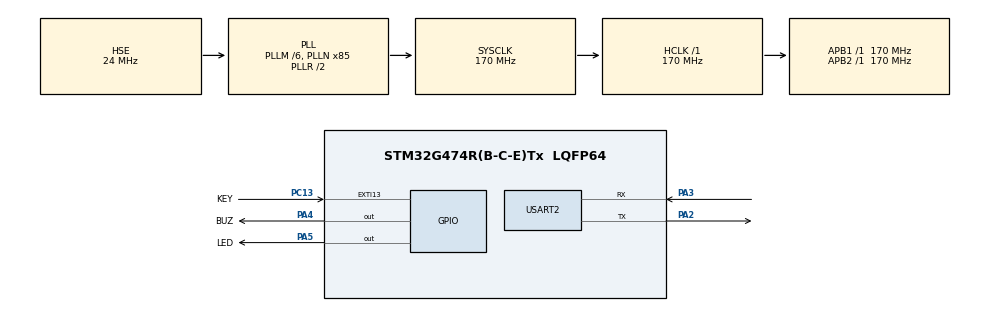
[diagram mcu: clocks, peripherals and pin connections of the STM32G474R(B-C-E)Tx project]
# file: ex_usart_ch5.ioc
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Mcu.Family=STM32G4
RCC.PLLSourceVirtual=RCC_PLLSOURCE_HSE
PA2.GPIO_PuPd=GPIO_PULLUP
RCC.CortexFreq_Value=170000000
PC13.Signal=GPXTI13
PA3.GPIO_PuPd=GPIO_PULLUP
PA2.GPIO_Speed=GPIO_SPEED_FREQ_HIGH
RCC.EXTERNAL_CLOCK_VALUE=12288000
PC13.GPIO_Label=KEY
PA3.GPIO_Speed=GPIO_SPEED_FREQ_HIGH
PA5.PinState=GPIO_PIN_SET
NVIC.USART2_IRQn=true\:1\:0\:true\:false\:true\:true\:true
RCC.SYSCLKSource=RCC_SYSCLKSOURCE_PLLCLK
ProjectManager.StackSize=0x400
PA13.Signal=SYS_JTMS-SWDIO
PA3.Mode=Asynchronous
PA4.PinState=GPIO_PIN_SET
ProjectManager.TargetToolchain=STM32CubeIDE
RCC.HCLKFreq_Value=170000000
RCC.APB2TimFreq_Value=170000000
RCC.USBFreq_Value=170000000
RCC.LSE_VALUE=32768
RCC.AHBFreq_Value=170000000
PF0-OSC_IN.Mode=HSE-External-Oscillator
NVIC.EXTI15_10_IRQn=true\:4\:0\:true\:false\:true\:true\:true
PA5.Signal=GPIO_Output
RCC.HSE_VALUE=24000000
PA4.GPIO_PuPd=GPIO_PULLUP
board=custom
USART2.VirtualMode-Asynchronous=VM_ASYNC
RCC.VCOOutputFreq_Value=340000000
RCC.ADC12Freq_Value=170000000
PA4.GPIO_Speed=GPIO_SPEED_FREQ_HIGH
RCC.ADC345Freq_Value=170000000
RCC.APB2Freq_Value=170000000
PA5.GPIO_ModeDefaultOutputPP=GPIO_MODE_OUTPUT_PP
PA14.Mode=Serial_Wire
PA5.GPIO_PuPd=GPIO_PULLUP
PC13.GPIO_PuPd=GPIO_PULLDOWN
VP_SYS_VS_DBSignals.Mode=DisableDeadBatterySignals
PA13.Mode=Serial_Wire
Mcu.Name=STM32G474R(B-C-E)Tx
PA2.Signal=USART2_TX
PA4.Signal=GPIO_Output
RCC.SYSCLKFreq_VALUE=170000000
Mcu.Package=LQFP64
PA5.GPIO_Label=LED
PA14.Signal=SYS_JTCK-SWCLK
ProjectManager.HeapSize=0x200
RCC.HSI_VALUE=16000000
PA5.GPIO_Speed=GPIO_SPEED_FREQ_HIGH
NVIC.PriorityGroup=NVIC_PRIORITYGROUP_4
RCC.PLLM=RCC_PLLM_DIV6
RCC.PLLN=85
RCC.APB1TimFreq_Value=170000000
PA2.Mode=Asynchronous
PF0-OSC_IN.Signal=RCC_OSC_IN
PF1-OSC_OUT.Mode=HSE-External-Oscillator
RCC.APB1Freq_Value=170000000
PA4.GPIO_Label=BUZ
PF1-OSC_OUT.Signal=RCC_OSC_OUT
RCC.HSI48_VALUE=48000000
PA3.Signal=USART2_RX

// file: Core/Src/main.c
/* USER CODE BEGIN Header */
/**
  ******************************************************************************
  * @file           : main.c
  * @brief          : Main program body
  ******************************************************************************
  * @attention
  *
  * <h2><center>&copy; Copyright (c) 2022 STMicroelectronics.
  * All rights reserved.</center></h2>
  *
  * This software component is licensed by ST under BSD 3-Clause license,
  * the "License"; You may not use this file except in compliance with the
  * License. You may obtain a copy of the License at:
  *                        opensource.org/licenses/BSD-3-Clause
  *
  ******************************************************************************
  */
/* USER CODE END Header */
#include "main.h"

/* USER CODE BEGIN Includes */
#include "stdio.h"
#include "stdlib.h"
/* USER CODE END Includes */

/* USER CODE BEGIN PD*/

//5.1-2: 1, 5.3.1:3, 5.1.4:4
#define RXBUFFERSIZE 3 //接收缓冲区的长度
/* USER CODE END PD */

UART_HandleTypeDef huart2;

/* USER CODE BEGIN PV */
uint8_t RxBuffer[RXBUFFERSIZE];

// 5.2
uint8_t CommOkMessage[] = "Everything is OK\r\n";
uint8_t CommErrMessage[] = "Received Error Data\r\n";
uint8_t CommFlag = 0;
uint8_t RxBuffer[RXBUFFERSIZE] = {0};
/* USER CODE END PV */

void SystemClock_Config(void);
static void MX_GPIO_Init(void);
static void MX_USART2_UART_Init(void);
void sort(uint32_t* a, uint32_t length, uint32_t* b);

int main(void)
{

  /* MCU Configuration--------------------------------------------------------*/

  /* Reset of all peripherals, Initializes the Flash interface and the Systick. */
  HAL_Init();

  /* Configure the system clock */
  SystemClock_Config();

  /* Initialize all configured peripherals */
  MX_GPIO_Init();
  MX_USART2_UART_Init();
  /* USER CODE BEGIN 2 */
  HAL_UART_Receive_IT(&huart2, (uint8_t *)RxBuffer, RXBUFFERSIZE);

  // 5.4
//  printf("Please Enter Data:\r\n");

  /* USER CODE END 2 */

  /* Infinite loop */
  while (1)
  {

    /* USER CODE BEGIN 3 */
	  // 5.1.1
//	  if (RxBuffer[0]==0x10){
//		  HAL_GPIO_WritePin(LED_GPIO_Port, LED_Pin, GPIO_PIN_SET);
//	  }
//	  else if (RxBuffer[0]==0x20){
//		  HAL_GPIO_WritePin(BUZ_GPIO_Port, BUZ_Pin, GPIO_PIN_RESET);
//	  }
//	  else{
//		  HAL_GPIO_WritePin(LED_GPIO_Port, LED_Pin, GPIO_PIN_RESET);
//		  HAL_GPIO_WritePin(BUZ_GPIO_Port, BUZ_Pin, GPIO_PIN_SET);
//	  }

	  // 5.1.2 控制LD的闪烁次数
//	  uint8_t num = (RxBuffer[0] < 20) ? RxBuffer[0] : 20;
//	  for (uint8_t i = 0; i < num * 2; ++i)
//	  {
//		  HAL_GPIO_TogglePin(LED_GPIO_Port, LED_Pin);
//		  HAL_Delay(500);
//	  }
//	  HAL_GPIO_WritePin(LED_GPIO_Port, LED_Pin, GPIO_PIN_RESET);
//	  HAL_Delay(2000);

	  // 5.2.1
//	  if ((RxBuffer[0] == 0x10)&&( CommFlag == 1)) {
//		  CommFlag = 0;
//		  HAL_GPIO_WritePin(LED_GPIO_Port, LED_Pin, GPIO_PIN_SET);
//		  HAL_UART_Transmit(&huart2,CommOkMessage,19,1000);
//	  }
//	  else if ((RxBuffer[0] != 0x10)&&( CommFlag == 1)) {
//		  CommFlag = 0;
//		  HAL_GPIO_WritePin(LED_GPIO_Port, LED_Pin, GPIO_PIN_RESET);
//		  HAL_UART_Transmit(&huart2,CommErrMessage,22,1000);
//	  }
	  // 5.2.2
//	  uint8_t num = 0;
//	  uint8_t i = 0;
//	  if (RxBuffer[0] < 10 && CommFlag == 1){
//		  CommFlag = 0;
//		  num = RxBuffer[0];
//		  i = 0;
//		  for (i = 1; i <= num; ++i)
//		  {
//			  uint8_t flash_msg[16];
//			  sprintf((char *)flash_msg, "flash %d times\r\n", i);
//			  HAL_UART_Transmit(&huart2, flash_msg, 16, 1000);
//			  HAL_Delay(20);
//			  HAL_GPIO_WritePin(LED_GPIO_Port, LED_Pin, GPIO_PIN_RESET);
//			  HAL_Delay(500);
//			  HAL_GPIO_WritePin(LED_GPIO_Port, LED_Pin, GPIO_PIN_SET);
//			  HAL_Delay(500);
//		  }
//		  uint8_t flash_end_msg[] = "flash over\r\n";
//		  HAL_UART_Transmit(&huart2, flash_end_msg, 13, 1000);
//		  HAL_Delay(2000);
//	  }

	  // 5.3.1
//	  if ((RxBuffer[0] == 0x53)&&(RxBuffer[2] == 0x45)&&(CommFlag == 1))
//	  {
//		  CommFlag = 0;
//		  if (RxBuffer[1] == 0x10)
//		  {
//			  HAL_GPIO_WritePin(LED_GPIO_Port, LED_Pin, GPIO_PIN_SET);
//			  HAL_UART_Transmit_IT(&huart2, CommOkMessage, 19);
//		  }
//		  else
//		  {
//			  HAL_GPIO_WritePin(LED_GPIO_Port, LED_Pin, GPIO_PIN_RESET);
//			  HAL_UART_Transmit_IT(&huart2, CommErrMessage, 22);
//		  }
//	  }

	  // 5.3.2
//	  uint16_t f_delay;
//	  uint8_t f_times;
//	  uint8_t i;
//	  if ((RxBuffer[0] == 0x53)&&(RxBuffer[3] == 0x45)&&(CommFlag == 1))
//	  {
//		  f_delay = (uint16_t)RxBuffer[1] * 10;
//		  f_times = RxBuffer[2];
//		  CommFlag = 0;
//
//		  i = 0;
//		  for (i = 1; i <= f_times; ++i)
//		  {
//		  			  uint8_t flash_msg[16];
//		  			  sprintf((char *)flash_msg, "flash %d times\r\n", i);
//		  			  HAL_UART_Transmit(&huart2, flash_msg, 16, 1000);
//		  			  HAL_Delay(20);
//		  			  HAL_GPIO_WritePin(LED_GPIO_Port, LED_Pin, GPIO_PIN_RESET);
//		  			  HAL_Delay(f_delay);
//		  			  HAL_GPIO_WritePin(LED_GPIO_Port, LED_Pin, GPIO_PIN_SET);
//		  			  HAL_Delay(f_delay);
//		  }
//		  		  uint8_t flash_end_msg[] = "flash over\r\n";
//		  		  HAL_UART_Transmit(&huart2, flash_end_msg, 13, 1000);
//		  		  HAL_Delay(2000);
//	  	}

	  // 5.5
	  printf("calculate the ranks of 20 students's scores, start:\r\n");

	  uint32_t scores[20];
	  uint32_t scores_copy[20];
	  uint32_t sort_idx[20];
	  for (uint8_t i = 0;i < 20; ++i){
		  sort_idx[i] = i;
	  }
	  for (uint8_t i = 0;i < 20; ++i){
		  printf("please enter %d th students's score:\r\n", i);
		  while(1){
		   if (CommFlag == 1){

			  uint32_t score = 0;
			  CommFlag = 0;
			  score = (RxBuffer[0]-48)*100 + (RxBuffer[1]-48)*10 + RxBuffer[2]-48;
			  if (score <= 100){
				  scores[i] = score;
			  	  printf("receive score: %d of %d th student\r\n", score, i);
			  	  break;
			  }
			  else{
				  printf("invalud score, please enter again\r\n");
			  }
		   }
		  }
	  }
	  HAL_Delay(200);
	  printf("all scores:\r\n");
	  for (uint8_t i = 0;i < 20; ++i){
		  printf("%d: %d\r\n", i, scores[i]);
	  }

	  for(uint8_t i =0; i < 20; ++i){
		  scores_copy[i] = scores[i];
	  }
	  sort(scores_copy, 20, sort_idx);

	  printf("after sorted:\r\n");
	  for (uint8_t i = 0;i < 20; ++i){
		  printf("%d: stu %d of score %d\r\n",i, sort_idx[i], scores[sort_idx[i]]);
	  }

  }
  /* USER CODE END 3 */
}

void SystemClock_Config(void)
{
  RCC_OscInitTypeDef RCC_OscInitStruct = {0};
  RCC_ClkInitTypeDef RCC_ClkInitStruct = {0};
  RCC_PeriphCLKInitTypeDef PeriphClkInit = {0};

  /** Configure the main internal regulator output voltage
  */
  HAL_PWREx_ControlVoltageScaling(PWR_REGULATOR_VOLTAGE_SCALE1_BOOST);
  /** Initializes the RCC Oscillators according to the specified parameters
  * in the RCC_OscInitTypeDef structure.
  */
  RCC_OscInitStruct.OscillatorType = RCC_OSCILLATORTYPE_HSE;
  RCC_OscInitStruct.HSEState = RCC_HSE_ON;
  RCC_OscInitStruct.PLL.PLLState = RCC_PLL_ON;
  RCC_OscInitStruct.PLL.PLLSource = RCC_PLLSOURCE_HSE;
  RCC_OscInitStruct.PLL.PLLM = RCC_PLLM_DIV6;
  RCC_OscInitStruct.PLL.PLLN = 85;
  RCC_OscInitStruct.PLL.PLLP = RCC_PLLP_DIV2;
  RCC_OscInitStruct.PLL.PLLQ = RCC_PLLQ_DIV2;
  RCC_OscInitStruct.PLL.PLLR = RCC_PLLR_DIV2;
  if (HAL_RCC_OscConfig(&RCC_OscInitStruct) != HAL_OK)
  {
    Error_Handler();
  }
  /** Initializes the CPU, AHB and APB buses clocks
  */
  RCC_ClkInitStruct.ClockType = RCC_CLOCKTYPE_HCLK|RCC_CLOCKTYPE_SYSCLK
                              |RCC_CLOCKTYPE_PCLK1|RCC_CLOCKTYPE_PCLK2;
  RCC_ClkInitStruct.SYSCLKSource = RCC_SYSCLKSOURCE_PLLCLK;
  RCC_ClkInitStruct.AHBCLKDivider = RCC_SYSCLK_DIV1;
  RCC_ClkInitStruct.APB1CLKDivider = RCC_HCLK_DIV1;
  RCC_ClkInitStruct.APB2CLKDivider = RCC_HCLK_DIV1;

  if (HAL_RCC_ClockConfig(&RCC_ClkInitStruct, FLASH_LATENCY_4) != HAL_OK)
  {
    Error_Handler();
  }
  /** Initializes the peripherals clocks
  */
  PeriphClkInit.PeriphClockSelection = RCC_PERIPHCLK_USART2;
  PeriphClkInit.Usart2ClockSelection = RCC_USART2CLKSOURCE_PCLK1;
  if (HAL_RCCEx_PeriphCLKConfig(&PeriphClkInit) != HAL_OK)
  {
    Error_Handler();
  }
}

static void MX_USART2_UART_Init(void)
{

  huart2.Instance = USART2;
  huart2.Init.BaudRate = 115200;
  huart2.Init.WordLength = UART_WORDLENGTH_8B;
  huart2.Init.StopBits = UART_STOPBITS_1;
  huart2.Init.Parity = UART_PARITY_NONE;
  huart2.Init.Mode = UART_MODE_TX_RX;
  huart2.Init.HwFlowCtl = UART_HWCONTROL_NONE;
  huart2.Init.OverSampling = UART_OVERSAMPLING_16;
  huart2.Init.OneBitSampling = UART_ONE_BIT_SAMPLE_DISABLE;
  huart2.Init.ClockPrescaler = UART_PRESCALER_DIV1;
  huart2.AdvancedInit.AdvFeatureInit = UART_ADVFEATURE_NO_INIT;
  if (HAL_UART_Init(&huart2) != HAL_OK)
  {
    Error_Handler();
  }
  if (HAL_UARTEx_SetTxFifoThreshold(&huart2, UART_TXFIFO_THRESHOLD_1_8) != HAL_OK)
  {
    Error_Handler();
  }
  if (HAL_UARTEx_SetRxFifoThreshold(&huart2, UART_RXFIFO_THRESHOLD_1_8) != HAL_OK)
  {
    Error_Handler();
  }
  if (HAL_UARTEx_DisableFifoMode(&huart2) != HAL_OK)
  {
    Error_Handler();
  }

}

static void MX_GPIO_Init(void)
{
  GPIO_InitTypeDef GPIO_InitStruct = {0};

  /* GPIO Ports Clock Enable */
  __HAL_RCC_GPIOC_CLK_ENABLE();
  __HAL_RCC_GPIOF_CLK_ENABLE();
  __HAL_RCC_GPIOA_CLK_ENABLE();

  /*Configure GPIO pin Output Level */
  HAL_GPIO_WritePin(GPIOA, BUZ_Pin|LED_Pin, GPIO_PIN_SET);

  /*Configure GPIO pin : KEY_Pin */
  GPIO_InitStruct.Pin = KEY_Pin;
  GPIO_InitStruct.Mode = GPIO_MODE_IT_RISING;
  GPIO_InitStruct.Pull = GPIO_PULLDOWN;
  HAL_GPIO_Init(KEY_GPIO_Port, &GPIO_InitStruct);

  /*Configure GPIO pins : BUZ_Pin LED_Pin */
  GPIO_InitStruct.Pin = BUZ_Pin|LED_Pin;
  GPIO_InitStruct.Mode = GPIO_MODE_OUTPUT_PP;
  GPIO_InitStruct.Pull = GPIO_PULLUP;
  GPIO_InitStruct.Speed = GPIO_SPEED_FREQ_HIGH;
  HAL_GPIO_Init(GPIOA, &GPIO_InitStruct);

  /* EXTI interrupt init*/
  HAL_NVIC_SetPriority(EXTI15_10_IRQn, 4, 0);
  HAL_NVIC_EnableIRQ(EXTI15_10_IRQn);

}

/* USER CODE BEGIN 4 */
void HAL_UART_RxCpltCallback(UART_HandleTypeDef *huart)
{
	CommFlag = 1;
	HAL_UART_Receive_IT(&huart2, (uint8_t *)RxBuffer, RXBUFFERSIZE);
}

void HAL_GPIO_EXTI_Callback(uint16_t GPIO_Pin)
{
	HAL_GPIO_WritePin(BUZ_GPIO_Port, BUZ_Pin, GPIO_PIN_RESET);
	HAL_Delay(100);
	HAL_GPIO_WritePin(BUZ_GPIO_Port, BUZ_Pin, GPIO_PIN_SET);
	for(uint8_t i = 0; i < RXBUFFERSIZE; i++)
	{
		printf("RxBuffer[%d] = 0x%02x\r\n", i, RxBuffer[i]);
	}
}

int __io_putchar(int ch)
{
	HAL_UART_Transmit(&huart2, (uint8_t *)&ch, 1, 0xFFFF);
	return ch;
}

void sort(uint32_t* a, uint32_t length, uint32_t* b)
{
	uint32_t i,j, t1, t;
    for(j=0; j<length; j++)
        for(i=0; i<length-1-j; i++)
            if(a[i]<a[i+1])
            {
                t=a[i];
                a[i]=a[i+1];
                a[i+1]=t;

                t1=b[i];
                b[i]=b[i+1];
                b[i+1]=t1;
            }
}
/* USER CODE END 4 */

void Error_Handler(void)
{
  __disable_irq();
  while (1)
  {
  }
}

/************************ (C) COPYRIGHT STMicroelectronics *****END OF FILE****/
